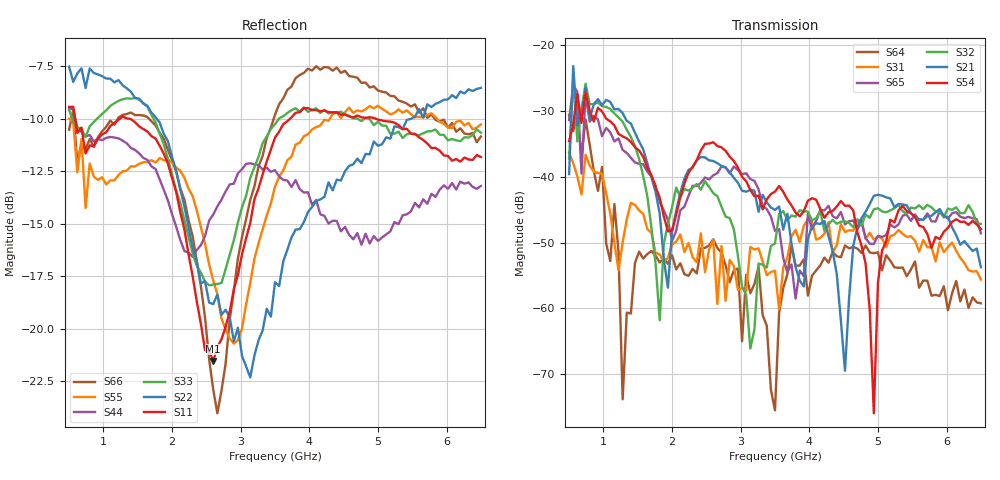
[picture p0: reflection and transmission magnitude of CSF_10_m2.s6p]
!Keysight Technologies,M9804A,MY58100912,A.14.10.03
!Date: Thursday, April 27, 2023 10:28:33
!Correction: S11(C  6-Port  )
!S12(C  6-Port  )
!S13(C  6-Port  )
!S14(C  6-Port  )
!S15(C  6-Port  )
!S16(C  6-Port  )
!S21(C  6-Port  )
!S22(C  6-Port  )
!S23(C  6-Port  )
!S24(C  6-Port  )
!S25(C  6-Port  )
!S26(C  6-Port  )
!S31(C  6-Port  )
!S32(C  6-Port  )
!S33(C  6-Port  )
!S34(C  6-Port  )
!S35(C  6-Port  )
!S36(C  6-Port  )
!S41(C  6-Port  )
!S42(C  6-Port  )
!S43(C  6-Port  )
!S44(C  6-Port  )
!S45(C  6-Port  )
!S46(C  6-Port  )
!S51(C  6-Port  )
!S52(C  6-Port  )
!S53(C  6-Port  )
!S54(C  6-Port  )
!S55(C  6-Port  )
!S56(C  6-Port  )
!S61(C  6-Port  )
!S62(C  6-Port  )
!S63(C  6-Port  )
!S64(C  6-Port  )
!S65(C  6-Port  )
!S66(C  6-Port  )
!S6P File: Measurement: :
# Hz S  RI  R 50
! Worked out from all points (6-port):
!   101 points, 500 MHz to 6.5 GHz, reference 50 ohm
!   strongest paths, dB at 500 MHz, 2 GHz, 3.5 GHz, 5 GHz, 6.5 GHz:
!     S54: -34.6, -48.2, -42.3, -56.1, -48.0
!     S21: -39.6, -48.3, -45.1, -42.7, -53.8
!     S32: -37.2, -44.6, -50.2, -44.8, -47.2
!     S65: -31.4, -49.8, -48.2, -49.0, -48.6
!     S31: -36.3, -50.3, -54.3, -49.0, -55.6
!     S64: -30.5, -51.9, -75.5, -51.5, -59.3
!   lowest |S11| = -21.5 dB at 2.6 GHz (marker M1), VSWR 1.18, Z = 42.5 + j2.1 ohm
!   |S11| at or under -10 dB: 587.8 MHz to 1.238 GHz (649.9 MHz wide, 71.2 % of centre); 1.382 GHz to 3.717 GHz (2.335 GHz wide, 91.6 % of centre); 4.973 GHz to end of sweep
